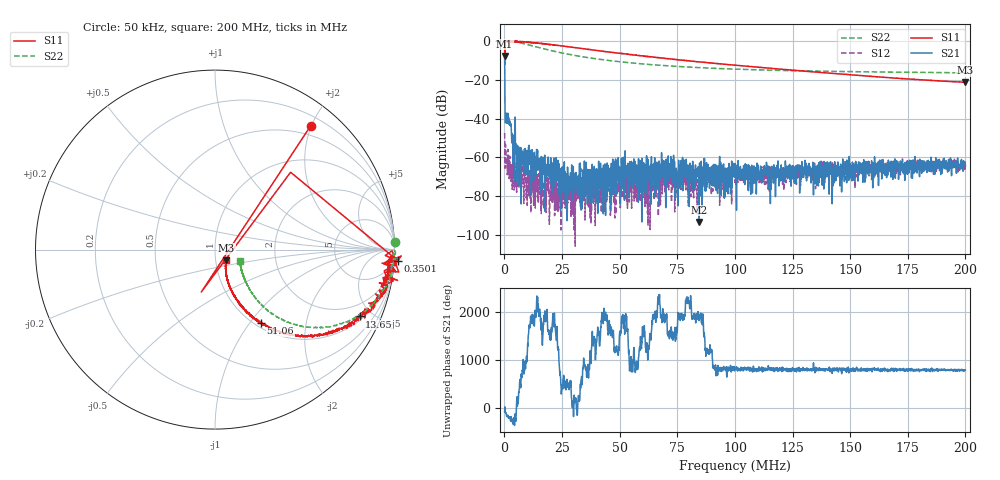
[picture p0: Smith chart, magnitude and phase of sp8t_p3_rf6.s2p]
! 26-Feb-26 11:45:22 AM
! E:\VNA_MEASUREMENTS\SP8T\SP8T_P3_RF6.S2P
! CHANNEL.1
! TR.MEASUREMENT
! CORRECTED.DATA
# GHZ S RI R 50.0
! FREQ.GHZ  S11RE  S11IM  S21RE  S21IM  S12RE  S12IM  S22RE  S22IM
!; PortSelection: Port_12
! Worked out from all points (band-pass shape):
!   2000 points, 50 kHz to 200 MHz, reference 50 ohm
!   highest |S21| = -7.63 dB at 50 kHz (marker M1); lowest = -93.3 dB at 84.47 MHz (marker M2)
!   |S21| within 3 dB of the highest: start of sweep to 78.75 kHz
!   lowest |S11| = -21.3 dB at 199.7 MHz (marker M3), VSWR 1.19, Z = 56.3 - j6.72 ohm
!   |S11| at or under -10 dB: 130.9 kHz to 177.1 kHz (46.21 kHz wide, 30 % of centre); 78.06878 MHz to 78.0703 MHz (1.523 kHz wide, 0.00195 % of centre); 78.26 MHz to end of sweep
!   |S22| runs from -16.4 to 0.1 dB; largest |S21 - S12| = 0.41
!   S11 on the Smith chart (normalised r, x): 50 kHz: 0.34, +1.99; 350.1 kHz: -10, -29; 13.65 MHz: 1.21, -4.22; 51.06 MHz: 1.06, -1.13; 200 MHz: 1.13, -0.13
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5e-05  0.5339 0.6914  0.0695 -0.4094  -0.00348 -0.0025  1.005 0.0436
0.000350075  1.02 -0.0632  0.000404 -0.00783  7.57e-05 -0.00191  1.002 -0.0367
0.0012503  0.9903 -0.0636  -0.0105 -0.00305  4.56e-05 0.000356  0.994 -0.0853
0.004951226  0.9541 -0.1437  9.85e-05 0.00177  0.000345 6.38e-05  0.9013 -0.2773
0.006251551  0.9353 -0.1872  0.00144 -0.00114  0.000174 0.000164  0.8481 -0.3304
0.0136534  0.8051 -0.3722  -3.22e-05 0.00103  -3.27e-05 0.000138  0.5662 -0.435
0.01635408  0.7497 -0.4152  6.44e-05 -0.000504  0.000122 1.05e-05  0.4875 -0.4265
0.02735683  0.537 -0.4818  0.000156 0.000545  -2.48e-05 6.91e-05  0.3051 -0.3475
0.03345835  0.4338 -0.4747  0.000115 -0.00023  -5.61e-05 -5.9e-06  0.2561 -0.3043
0.04836208  0.269 -0.4148  -0.000351 -7.54e-05  -8.63e-05 0.000367  0.1966 -0.2278
0.05106276  0.2544 -0.4108  -0.000155 0.000246  -0.000183 -1.87e-05  0.1908 -0.2171
0.06676668  0.1686 -0.338  0.000253 0.000586  -2.2e-06 -3.05e-05  0.1678 -0.1713
0.07276818  0.1449 -0.3107  0.000427 0.000569  3.41e-05 0.000309  0.1626 -0.1576
0.07486871  0.1347 -0.3051  -0.00022 0.000108  -6.43e-05 0.000362  0.1607 -0.1538
0.07796949  0.1287 -0.292  -0.000295 0.000408  9.21e-05 0.000444  0.1584 -0.1483
0.08037008  0.1228 -0.2799  3.8e-06 -0.000232  -0.000108 0.000276  0.1561 -0.1436
0.08447111  0.1133 -0.2685  -1.94e-05 9.6e-06  3.58e-05 0.000205  0.1541 -0.1379
0.100075  0.0881 -0.2234  7e-07 0.000691  8.26e-05 0.000222  0.1486 -0.1182
0.1333833  0.0643 -0.1484  2.3e-05 0.000424  9.71e-05 0.000443  0.1424 -0.0908
0.1666917  0.0596 -0.0975  5.75e-05 0.000614  -2.28e-05 0.000466  0.1402 -0.0746
0.1996999  0.063 -0.0592  0.000252 0.00057  0.000144 0.000428  0.1384 -0.0641
0.2  0.0632 -0.0594  0.000182 0.000581  0.000262 0.000553  0.1386 -0.0635
